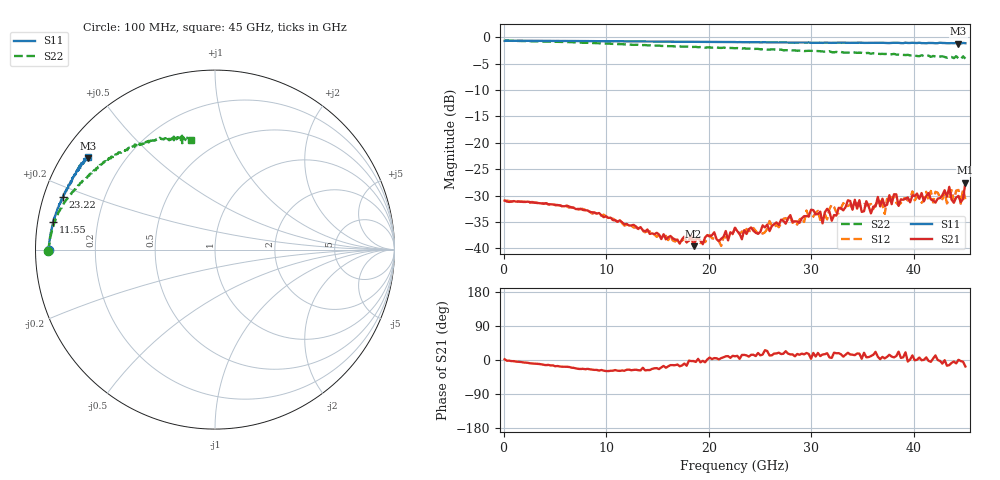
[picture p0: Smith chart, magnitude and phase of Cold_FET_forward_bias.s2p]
!Date: 10/28/2005, 2:03 PM
!Vgs = 1.950000E+0
!Vds = 0.000000E+0
!Ig = 1.000020E-1
!Id = -3.239600E-2
# HZ S RI R 50
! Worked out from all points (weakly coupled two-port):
!   201 points, 100 MHz to 45 GHz, reference 50 ohm
!   highest |S21| = -27.56 dB at 45 GHz (marker M1); lowest = -39.6 dB at 18.51 GHz (marker M2)
!   lowest |S11| = -1.2 dB at 44.33 GHz (marker M3), VSWR 14.45, Z = 3.82 + j16 ohm
!   |S11| at or under -10 dB: nowhere
!   |S22| runs from -4.1 to -0.6 dB; largest |S21 - S12| = 0.014
!   S11 on the Smith chart (normalised r, x): 100 MHz: 0.04, -0.00; 11.55 GHz: 0.04, +0.09; 23.22 GHz: 0.06, +0.17; 45 GHz: 0.07, +0.32
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1e8  -0.9226 -0.00217  0.0284 0.000968  0.0283 0.000422  -0.9282 -0.00696
7.733e9  -0.9117 0.1057  0.0213 -0.0091  0.0218 -0.00908  -0.8549 0.2318
1.15495e10  -0.9017 0.1555  0.0157 -0.00819  0.0151 -0.00861  -0.799 0.315
1.51415e10  -0.8865 0.1987  0.0124 -0.00551  0.0123 -0.00483  -0.741 0.3802
1.8509e10  -0.8718 0.2393  0.0105 -0.000525  0.012 -0.00137  -0.6866 0.4283
2.1203e10  -0.856 0.2678  0.0123 0.00106  0.0104 0.00144  -0.6431 0.4605
2.255e10  -0.8531 0.2851  0.0154 0.00266  0.0154 0.00264  -0.62 0.4832
2.32235e10  -0.8474 0.2925  0.0119 0.00279  0.0143 0.0022  -0.6066 0.4902
3.0183e10  -0.807 0.3662  0.0218 0.00735  0.0182 0.0084  -0.4787 0.5683
3.1081e10  -0.801 0.3736  0.0167 0.00431  0.0197 0.005  -0.453 0.5768
3.153e10  -0.8045 0.3797  0.0226 0.00728  0.0183 0.00436  -0.4478 0.5739
3.1979e10  -0.7977 0.381  0.0182 0.0018  0.0246 0.00832  -0.4289 0.5795
3.35505e10  -0.7891 0.4043  0.027 0.00935  0.0236 0.00881  -0.4041 0.5913
3.57955e10  -0.7733 0.4285  0.0211 0.00385  0.026 0.00409  -0.3516 0.601
3.71425e10  -0.7639 0.4414  0.0251 0.00188  0.0197 0.00774  -0.3276 0.6106
3.75915e10  -0.7616 0.4407  0.031 0.00757  0.0264 0.00305  -0.3157 0.6111
4.16325e10  -0.7313 0.4913  0.029 -0.00245  0.0343 -0.00661  -0.2292 0.6094
4.3204e10  -0.7174 0.5043  0.0297 -0.00798  0.0256 -0.00737  -0.1998 0.6074
4.43265e10  -0.7068 0.5083  0.0314 0.000292  0.0358 0.00114  -0.1608 0.6073
4.4551e10  -0.7039 0.5146  0.0274 -0.00135  0.0265 0.00138  -0.1831 0.5928
4.47755e10  -0.7115 0.5213  0.0294 -0.00239  0.0366 -0.00175  -0.1813 0.6335
4.5e10  -0.7102 0.5146  0.04 -0.0124  0.0288 -0.00338  -0.1319 0.6131
